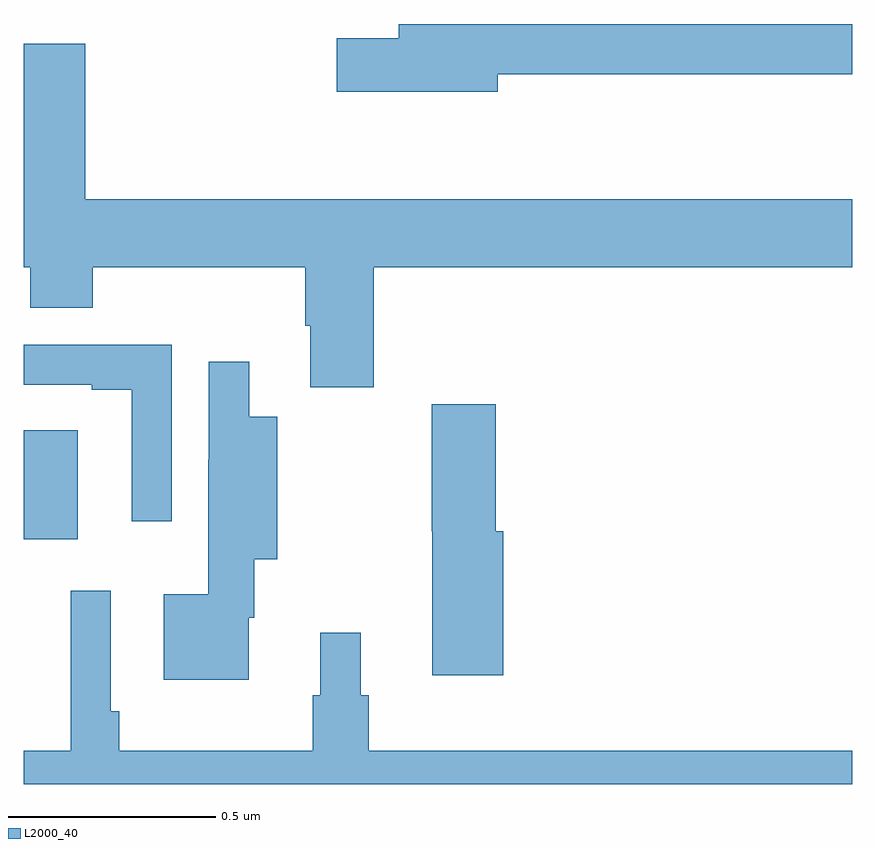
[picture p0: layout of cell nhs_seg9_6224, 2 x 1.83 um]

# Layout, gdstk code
import gdstk
lib = gdstk.Library(unit=1e-6, precision=1e-09)
def R(c, l, rs):  # rectangles x0, y0, x1, y1
    for r in rs: c.add(gdstk.rectangle(r[:2], r[2:], *l))
def P(c, l, *ps):  # polygons
    for p in ps: c.add(gdstk.Polygon(p, *l))
L2000_40 = (2000, 40)

nhs_seg9_6224 = lib.new_cell('nhs_seg9_6224')
R(nhs_seg9_6224, L2000_40, [(189,1201.091,189.13,1201.354)])
P(nhs_seg9_6224, L2000_40, [(190.144,1202.214),(191,1202.214),(191,1202.335),(189.905,1202.335),(189.905,1202.301),(189.756,1202.301),(189.756,1202.171),(190.144,1202.171)],
  [(189.845,1201.748),(191,1201.748),(191,1201.912),(189.148,1201.912),(189.148,1202.287),(189,1202.287),(189,1201.748),(189.015,1201.748),(189.015,1201.65),(189.167,1201.65),(189.167,1201.748),(189.68,1201.748),(189.68,1201.606),(189.692,1201.606),(189.692,1201.458),(189.845,1201.458)],
  [(189.357,1201.56),(189,1201.56),(189,1201.464),(189.164,1201.464),(189.164,1201.452),(189.26,1201.452),(189.26,1201.134),(189.357,1201.134)],
  [(189.543,1200.902),(189.556,1200.902),(189.556,1201.043),(189.612,1201.043),(189.612,1201.387),(189.544,1201.387),(189.544,1201.519),(189.446,1201.519),(189.446,1201.283),(189.445,1201.283),(189.445,1200.958),(189.338,1200.958),(189.338,1200.752),(189.543,1200.752)],
  [(190.157,1201.11),(190.139,1201.11),(190.139,1201.417),(189.985,1201.417),(189.985,1201.11),(189.986,1201.11),(189.986,1200.762),(190.157,1200.762)],
  [(191,1200.58),(189.833,1200.58),(189.833,1200.714),(189.814,1200.714),(189.814,1200.865),(189.716,1200.865),(189.716,1200.714),(189.697,1200.714),(189.697,1200.58),(189.23,1200.58),(189.23,1200.676),(189.21,1200.676),(189.21,1200.967),(189.113,1200.967),(189.113,1200.58),(189,1200.58),(189,1200.5),(191,1200.5)])

lib.write_gds('nhs_seg9_6224.gds')
